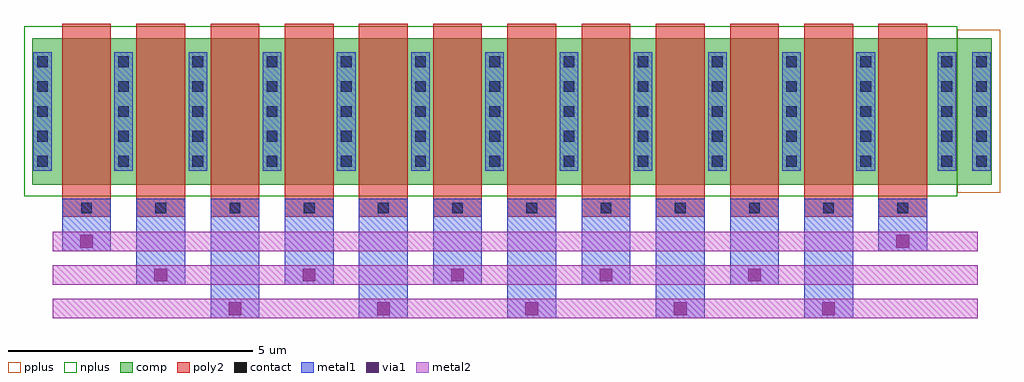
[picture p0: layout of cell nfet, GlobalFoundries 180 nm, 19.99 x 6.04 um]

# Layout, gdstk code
import gdstk
lib = gdstk.Library(unit=1e-6, precision=1e-09)
def R(c, l, rs):  # rectangles x0, y0, x1, y1
    for r in rs: c.add(gdstk.rectangle(r[:2], r[2:], *l))
def A(c, l, x, y, w, h, nx, ny, dx, dy):  # array of equal rectangles
    R(c, l, [(x+i*dx, y+j*dy, x+i*dx+w, y+j*dy+h) for i in range(nx) for j in range(ny)])
comp = (22, 0)
poly2 = (30, 0)
pplus = (31, 0)
nplus = (32, 0)
contact = (33, 0)
metal1 = (34, 0)
via1 = (35, 0)
metal2 = (36, 0)

nfet = lib.new_cell('nfet')
R(nfet, comp, [(-0.42,0,19.23,3)])
A(nfet, poly2, 0.19, -0.66, 1, 3.96, 12, 1, 1.52, 0)
R(nfet, pplus, [(18.52,-0.17,19.4,3.17)])
R(nfet, nplus, [(-0.59,-0.24,18.52,3.24)])
A(nfet, contact, 0.58, -0.59, 0.22, 0.22, 12, 1, 1.52, 0)
A(nfet, contact, -0.32, 0.37, 0.22, 0.22, 1, 5, 0, 0.51)
A(nfet, contact, 1.34, 0.37, 0.22, 0.22, 11, 5, 1.52, 0.51)
A(nfet, contact, 18.2, 0.37, 0.22, 0.22, 1, 5, 0, 0.51)
A(nfet, contact, 18.91, 0.37, 0.22, 0.22, 1, 5, 0, 0.51)
A(nfet, metal1, 3.23, -2.74, 1, 2.45, 5, 1, 3.04, 0)
A(nfet, metal1, 1.71, -2.05, 1, 1.76, 5, 1, 3.04, 0)
A(nfet, metal1, 1.26, 0.29, 0.38, 2.42, 11, 1, 1.52, 0)
R(nfet, metal1, [(0.19,-1.36,1.19,-0.29), (16.91,-1.36,17.91,-0.29), (-0.4,0.29,-0.02,2.71), (18.12,0.29,18.5,2.71), (18.83,0.29,19.21,2.71)])
A(nfet, via1, 3.6, -2.67, 0.26, 0.26, 5, 1, 3.04, 0)
A(nfet, via1, 2.08, -1.98, 0.26, 0.26, 5, 1, 3.04, 0)
R(nfet, via1, [(0.56,-1.29,0.82,-1.03), (17.28,-1.29,17.54,-1.03)])
A(nfet, metal2, 0, -2.74, 18.94, 0.4, 1, 3, 0, 0.69)

lib.write_gds('nfet.gds')
